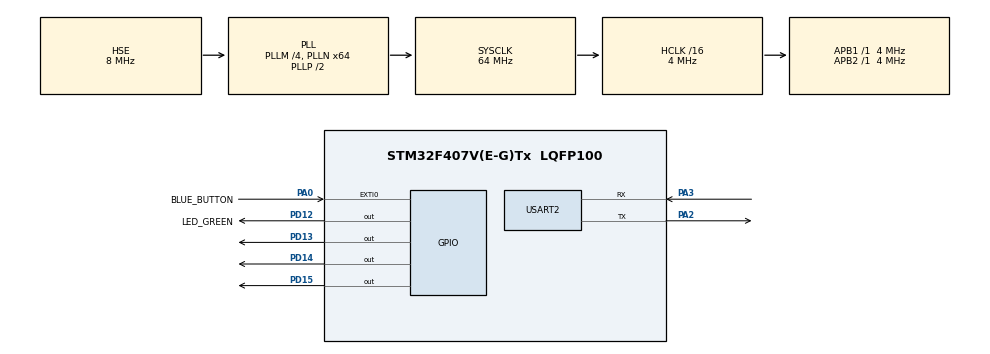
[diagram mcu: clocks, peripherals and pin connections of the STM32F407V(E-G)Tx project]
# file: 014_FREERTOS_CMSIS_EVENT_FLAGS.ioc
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FREERTOS.Tasks01=Task1,24,256,StartTask1,Default,NULL,Dynamic,NULL,NULL;Task2,24,256,StartTask2,Default,NULL,Dynamic,NULL,NULL;Task3,24,256,StartTask3,Default,NULL,Dynamic,NULL,NULL
FREERTOS.configUSE_NEWLIB_REENTRANT=1
Mcu.Family=STM32F4
Mcu.Name=STM32F407V(E-G)Tx
Mcu.Package=LQFP100
NVIC.EXTI0_IRQn=true\:5\:0\:false\:false\:true\:true\:true\:true\:true
NVIC.PriorityGroup=NVIC_PRIORITYGROUP_4
NVIC.TIM8_TRG_COM_TIM14_IRQn=true\:15\:0\:false\:false\:true\:false\:false\:true\:true
NVIC.TimeBase=TIM8_TRG_COM_TIM14_IRQn
NVIC.TimeBaseIP=TIM14
NVIC.USART2_IRQn=true\:5\:0\:false\:false\:true\:true\:true\:true\:true
PA0-WKUP.GPIO_Label=BLUE_BUTTON
PA0-WKUP.Signal=GPXTI0
PA13.Mode=Trace_Asynchronous_SW
PA13.Signal=SYS_JTMS-SWDIO
PA14.Mode=Trace_Asynchronous_SW
PA14.Signal=SYS_JTCK-SWCLK
PA2.Mode=Asynchronous
PA2.Signal=USART2_TX
PA3.Mode=Asynchronous
PA3.Signal=USART2_RX
PB3.Mode=Trace_Asynchronous_SW
PB3.Signal=SYS_JTDO-SWO
PD12.GPIO_Label=LED_GREEN
PD12.Signal=GPIO_Output
PD13.Signal=GPIO_Output
PD14.Signal=GPIO_Output
PD15.Signal=GPIO_Output
PH0-OSC_IN.Mode=HSE-External-Oscillator
PH0-OSC_IN.Signal=RCC_OSC_IN
PH1-OSC_OUT.Mode=HSE-External-Oscillator
PH1-OSC_OUT.Signal=RCC_OSC_OUT
ProjectManager.HeapSize=0x200
ProjectManager.StackSize=0x400
ProjectManager.TargetToolchain=STM32CubeIDE
RCC.48MHZClocksFreq_Value=18285714.285714287
RCC.AHBCLKDivider=RCC_SYSCLK_DIV16
RCC.AHBFreq_Value=4000000
RCC.APB1Freq_Value=4000000
RCC.APB1TimFreq_Value=4000000
RCC.APB2Freq_Value=4000000
RCC.APB2TimFreq_Value=4000000
RCC.CortexFreq_Value=4000000
RCC.HCLKFreq_Value=4000000
RCC.HSE_VALUE=8000000
RCC.HSI_VALUE=16000000
RCC.LSE_VALUE=32768
RCC.PLLM=4
RCC.PLLN=64
RCC.PLLQ=7
RCC.PLLSourceVirtual=RCC_PLLSOURCE_HSE
RCC.SYSCLKFreq_VALUE=64000000
RCC.SYSCLKSource=RCC_SYSCLKSOURCE_PLLCLK
RCC.VCOOutputFreq_Value=128000000
USART2.VirtualMode=VM_ASYNC
VP_FREERTOS_VS_CMSIS_V2.Mode=CMSIS_V2
VP_SYS_VS_tim14.Mode=TIM14
board=STM32F407G-DISC1

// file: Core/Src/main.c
/* USER CODE BEGIN Header */
/**
  ******************************************************************************
  * @file           : main.c
  * @brief          : Main program body
  ******************************************************************************
  * @attention
  *
  * Copyright (c) 2023 STMicroelectronics.
  * All rights reserved.
  *
  * This software is licensed under terms that can be found in the LICENSE file
  * in the root directory of this software component.
  * If no LICENSE file comes with this software, it is provided AS-IS.
  *
  ******************************************************************************
  */
/* USER CODE END Header */
#include "main.h"
#include "cmsis_os.h"

UART_HandleTypeDef huart2;

/* Definitions for Task1 */
osThreadId_t Task1Handle;
const osThreadAttr_t Task1_attributes = {
  .name = "Task1",
  .stack_size = 256 * 4,
  .priority = (osPriority_t) osPriorityNormal,
};
/* Definitions for Task2 */
osThreadId_t Task2Handle;
const osThreadAttr_t Task2_attributes = {
  .name = "Task2",
  .stack_size = 256 * 4,
  .priority = (osPriority_t) osPriorityNormal,
};
/* Definitions for Task3 */
osThreadId_t Task3Handle;
const osThreadAttr_t Task3_attributes = {
  .name = "Task3",
  .stack_size = 256 * 4,
  .priority = (osPriority_t) osPriorityNormal,
};
/* USER CODE BEGIN PV */
osEventFlagsId_t EventGroup1;
/* USER CODE END PV */

void SystemClock_Config(void);
static void MX_GPIO_Init(void);
static void MX_USART2_UART_Init(void);
void StartTask1(void *argument);
void StartTask2(void *argument);
void StartTask3(void *argument);

int main(void)
{

  /* MCU Configuration--------------------------------------------------------*/

  /* Reset of all peripherals, Initializes the Flash interface and the Systick. */
  HAL_Init();

  /* Configure the system clock */
  SystemClock_Config();

  /* Initialize all configured peripherals */
  MX_GPIO_Init();
  MX_USART2_UART_Init();
  /* USER CODE BEGIN 2 */
  EventGroup1 = osEventFlagsNew(NULL);
  /* USER CODE END 2 */

  /* Init scheduler */
  osKernelInitialize();

  /* Create the thread(s) */
  /* creation of Task1 */
  Task1Handle = osThreadNew(StartTask1, NULL, &Task1_attributes);

  /* creation of Task2 */
  Task2Handle = osThreadNew(StartTask2, NULL, &Task2_attributes);

  /* creation of Task3 */
  Task3Handle = osThreadNew(StartTask3, NULL, &Task3_attributes);

  /* Start scheduler */
  osKernelStart();
  /* We should never get here as control is now taken by the scheduler */
  /* Infinite loop */
  while (1)
  {

  }
}

void SystemClock_Config(void)
{
  RCC_OscInitTypeDef RCC_OscInitStruct = {0};
  RCC_ClkInitTypeDef RCC_ClkInitStruct = {0};

  /** Configure the main internal regulator output voltage
  */
  __HAL_RCC_PWR_CLK_ENABLE();
  __HAL_PWR_VOLTAGESCALING_CONFIG(PWR_REGULATOR_VOLTAGE_SCALE1);

  /** Initializes the RCC Oscillators according to the specified parameters
  * in the RCC_OscInitTypeDef structure.
  */
  RCC_OscInitStruct.OscillatorType = RCC_OSCILLATORTYPE_HSE;
  RCC_OscInitStruct.HSEState = RCC_HSE_ON;
  RCC_OscInitStruct.PLL.PLLState = RCC_PLL_ON;
  RCC_OscInitStruct.PLL.PLLSource = RCC_PLLSOURCE_HSE;
  RCC_OscInitStruct.PLL.PLLM = 4;
  RCC_OscInitStruct.PLL.PLLN = 64;
  RCC_OscInitStruct.PLL.PLLP = RCC_PLLP_DIV2;
  RCC_OscInitStruct.PLL.PLLQ = 7;
  if (HAL_RCC_OscConfig(&RCC_OscInitStruct) != HAL_OK)
  {
    Error_Handler();
  }

  /** Initializes the CPU, AHB and APB buses clocks
  */
  RCC_ClkInitStruct.ClockType = RCC_CLOCKTYPE_HCLK|RCC_CLOCKTYPE_SYSCLK
                              |RCC_CLOCKTYPE_PCLK1|RCC_CLOCKTYPE_PCLK2;
  RCC_ClkInitStruct.SYSCLKSource = RCC_SYSCLKSOURCE_PLLCLK;
  RCC_ClkInitStruct.AHBCLKDivider = RCC_SYSCLK_DIV16;
  RCC_ClkInitStruct.APB1CLKDivider = RCC_HCLK_DIV1;
  RCC_ClkInitStruct.APB2CLKDivider = RCC_HCLK_DIV1;

  if (HAL_RCC_ClockConfig(&RCC_ClkInitStruct, FLASH_LATENCY_0) != HAL_OK)
  {
    Error_Handler();
  }
}

static void MX_USART2_UART_Init(void)
{

  huart2.Instance = USART2;
  huart2.Init.BaudRate = 115200;
  huart2.Init.WordLength = UART_WORDLENGTH_8B;
  huart2.Init.StopBits = UART_STOPBITS_1;
  huart2.Init.Parity = UART_PARITY_NONE;
  huart2.Init.Mode = UART_MODE_TX_RX;
  huart2.Init.HwFlowCtl = UART_HWCONTROL_NONE;
  huart2.Init.OverSampling = UART_OVERSAMPLING_16;
  if (HAL_UART_Init(&huart2) != HAL_OK)
  {
    Error_Handler();
  }

}

static void MX_GPIO_Init(void)
{
  GPIO_InitTypeDef GPIO_InitStruct = {0};

  /* GPIO Ports Clock Enable */
  __HAL_RCC_GPIOH_CLK_ENABLE();
  __HAL_RCC_GPIOA_CLK_ENABLE();
  __HAL_RCC_GPIOD_CLK_ENABLE();
  __HAL_RCC_GPIOB_CLK_ENABLE();

  /*Configure GPIO pin Output Level */
  HAL_GPIO_WritePin(GPIOD, LED_GREEN_Pin|GPIO_PIN_13|GPIO_PIN_14|GPIO_PIN_15, GPIO_PIN_RESET);

  /*Configure GPIO pin : BLUE_BUTTON_Pin */
  GPIO_InitStruct.Pin = BLUE_BUTTON_Pin;
  GPIO_InitStruct.Mode = GPIO_MODE_IT_RISING;
  GPIO_InitStruct.Pull = GPIO_NOPULL;
  HAL_GPIO_Init(BLUE_BUTTON_GPIO_Port, &GPIO_InitStruct);

  /*Configure GPIO pins : LED_GREEN_Pin PD13 PD14 PD15 */
  GPIO_InitStruct.Pin = LED_GREEN_Pin|GPIO_PIN_13|GPIO_PIN_14|GPIO_PIN_15;
  GPIO_InitStruct.Mode = GPIO_MODE_OUTPUT_PP;
  GPIO_InitStruct.Pull = GPIO_NOPULL;
  GPIO_InitStruct.Speed = GPIO_SPEED_FREQ_LOW;
  HAL_GPIO_Init(GPIOD, &GPIO_InitStruct);

  /* EXTI interrupt init*/
  HAL_NVIC_SetPriority(EXTI0_IRQn, 5, 0);
  HAL_NVIC_EnableIRQ(EXTI0_IRQn);

}

/* USER CODE BEGIN 4 */
void Task_action(char message)
{
	ITM_SendChar(message);
	ITM_SendChar('\n');
}
void HAL_GPIO_EXTI_Callback(uint16_t GPIO_Pin)
{
	osEventFlagsSet(EventGroup1, 0x50);
	Task_action('!');
}
/* USER CODE END 4 */

void StartTask1(void *argument)
{
  /* USER CODE BEGIN 5 */
  /* Infinite loop */
  for(;;)
  {
  	osEventFlagsWait(EventGroup1, 0x51, osFlagsWaitAll, osWaitForever);
  	Task_action('1');
  }
  /* USER CODE END 5 */
}

void StartTask2(void *argument)
{
  /* USER CODE BEGIN StartTask2 */
  /* Infinite loop */
  for(;;)
  {
	  osEventFlagsSet(EventGroup1, 1);
	  Task_action('2');
	  osDelay(3000);
  }
  /* USER CODE END StartTask2 */
}

void StartTask3(void *argument)
{
  /* USER CODE BEGIN StartTask3 */
  /* Infinite loop */
  for(;;)
  {
  	osEventFlagsWait(EventGroup1, 0x51, osFlagsWaitAll, osWaitForever);
  	Task_action('3');
  }
  /* USER CODE END StartTask3 */
}

void HAL_TIM_PeriodElapsedCallback(TIM_HandleTypeDef *htim)
{
  if (htim->Instance == TIM14) {
    HAL_IncTick();
  }
}

void Error_Handler(void)
{
  __disable_irq();
  while (1)
  {
  }
}
